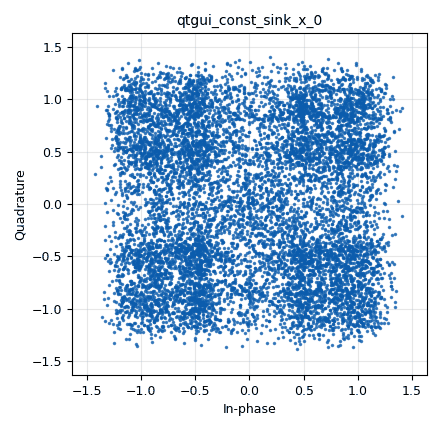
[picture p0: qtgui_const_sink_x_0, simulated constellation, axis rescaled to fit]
options:
  parameters:
    generate_options: qt_gui
    id: transfer
    output_language: python
    title: symbol_sync
  states: {}

blocks:
- name: excess_bw
  id: variable
  parameters:
    value: '0.350'
  states: {}
- name: qam
  id: variable_constellation_rect
  parameters:
    const_points: '[-0.707-0.707j, -0.3535-0.707j, 0.707-0.707j, 0.3535-0.707j, -0.707-0.3535j, -0.3535-0.3535j, 0.707-0.3535j, 0.3535-0.3535j, -0.707+0.707j, -0.3535+0.707j, 0.707+0.707j, 0.3535+0.707j, -0.707+0.3535j, -0.3535+0.3535j, 0.707+0.3535j, 0.3535+0.3535j]'
    imag_sect: '4'
    precision: '4'
    real_sect: '4'
    rot_sym: '16'
    sym_map: '[0, 1, 2, 3, 4, 5, 6, 7, 8, 9, 10, 11, 12, 13, 14, 15]'
    w_imag_sect: '1'
    w_real_sect: '1'
  states: {}
- name: samp_rate
  id: variable
  parameters:
    value: '1000000'
  states: {}
- name: sps
  id: variable
  parameters:
    value: '4'
  states: {}
- name: analog_random_source_x_0
  id: analog_random_source_x
  parameters:
    max: '255'
    min: '0'
    num_samps: '1000'
    repeat: 'True'
    type: byte
  states: {}
- name: blocks_throttle_0
  id: blocks_throttle
  parameters:
    samples_per_second: samp_rate
    type: complex
  states: {}
- name: digital_constellation_modulator_0
  id: digital_constellation_modulator
  parameters:
    constellation: qam
    differential: 'True'
    excess_bw: excess_bw
    samples_per_symbol: sps
  states: {}
- name: epy_block_0
  id: epy_block
  parameters:
    _source_code: |-
      """
      Embedded Python Blocks:

      Each time this file is saved, GRC will instantiate the first class it finds
      to get ports and parameters of your block. The arguments to __init__  will
      be the parameters. All of them are required to have default values!
      """

      import numpy as np
      from gnuradio import gr


      class qam16Block(gr.sync_block):
          def __init__(self):
              gr.sync_block.__init__(
                  self,
                  name='qam16',
                  in_sig=[np.uint32],
                  out_sig=[np.complex64]
              )

          def work(self, input_items, output_items):
              mijnString = str(input_items[0])
              bits = "11100101110010" + ''.join(format(ord(x), '08b') for x in mijnString) + "00"

              min = 0.3535
              max = 0.707

              t = []
              for i in range(0, len(bits), 4):
                  convert = dict({
                      '0000': (-max, -max),
                      '0001': (-min, -max),
                      '0010': (max, -max),
                      '0011': (min, -max),
                      '0100': (-max, -min),
                      '0101': (-min, -min),
                      '0110': (max, -min),
                      '0111': (min, -min),
                      '1000': (-max, max),
                      '1001': (-min, max),
                      '1010': (max, max),
                      '1011': (min, max),
                      '1100': (-max, min),
                      '1101': (-min, min),
                      '1110': (max, min),
                      '1111': (min, min),
                  })
                  i, q = convert[bits[i:i+4]]
                  t.append(complex(q,i))

              # output_items[0][0] = complex(q,i)
              #print(len(input_items[0]), len(output_items[0]), len(t))
              output_items[0][0:len(t)] = t

              return len(output_items[0])

              #[0.707+0.707j,  0.3535+0.707j, 0.3535+0.3535j, 0.707+0.3535j, -0.3535+0.707j, -0.707+0.707j, -0.707+0.3535j, -0.3535+0.3535j, -0.3535-0.3535j, -0.707-0.3535j, -0.707-0.707j, -0.3535-0.707j, 0.707-0.3535j, 0.3535-0.3535j, 0.3535-0.707j, 0.707-0.707j]
  states: {state: disabled}
- name: qtgui_const_sink_x_0
  id: qtgui_const_sink_x
  parameters:
    size: '10000'
    type: complex
    xmax: '0.707'
    xmin: '-0.707'
    ymax: '0.707'
    ymin: '-0.707'
  states: {}
- name: root_raised_cosine_filter_0
  id: root_raised_cosine_filter
  parameters:
    alpha: '0.35'
    decim: '1'
    gain: '1'
    ntaps: '11'
    samp_rate: samp_rate
    sym_rate: '1.0'
    type: fir_filter_ccf
  states: {state: disabled}
- name: uhd_usrp_sink_0
  id: uhd_usrp_sink
  parameters:
    ant0: '"TX/RX"'
    center_freq0: '2400000000'
    gain0: '50'
    samp_rate: samp_rate
    sync: none
    type: fc32
  states: {}

connections:
- [analog_random_source_x_0, '0', digital_constellation_modulator_0, '0']
- [analog_random_source_x_0, '0', epy_block_0, '0']
- [blocks_throttle_0, '0', qtgui_const_sink_x_0, '0']
- [digital_constellation_modulator_0, '0', blocks_throttle_0, '0']
- [digital_constellation_modulator_0, '0', uhd_usrp_sink_0, '0']
- [epy_block_0, '0', blocks_throttle_0, '0']
- [epy_block_0, '0', root_raised_cosine_filter_0, '0']
- [epy_block_0, '0', uhd_usrp_sink_0, '0']
- [root_raised_cosine_filter_0, '0', uhd_usrp_sink_0, '0']

metadata:
  file_format: 1
